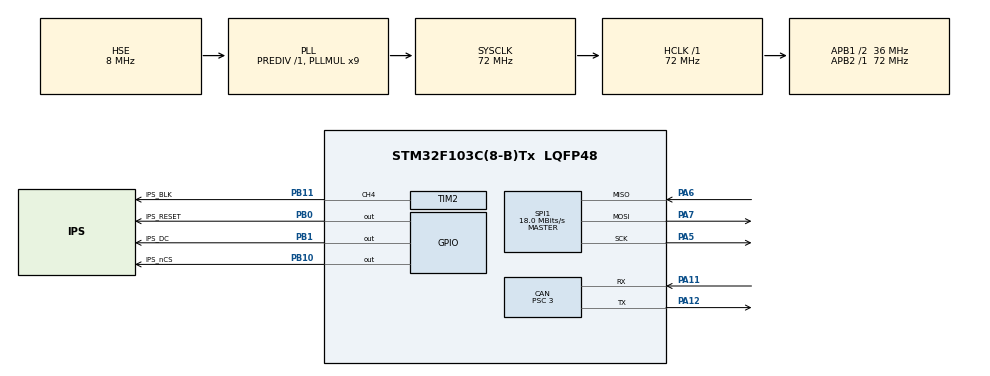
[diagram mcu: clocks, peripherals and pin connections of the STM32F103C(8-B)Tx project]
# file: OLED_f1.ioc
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CAN.ABOM=ENABLE
CAN.AWUM=ENABLE
CAN.BS1=CAN_BS1_7TQ
CAN.BS2=CAN_BS2_4TQ
CAN.CalculateTimeBit=1000
CAN.CalculateTimeQuantum=83.33333333333334
CAN.Prescaler=3
Mcu.Family=STM32F1
Mcu.Name=STM32F103C(8-B)Tx
Mcu.Package=LQFP48
NVIC.PriorityGroup=NVIC_PRIORITYGROUP_4
NVIC.USB_LP_CAN1_RX0_IRQn=true\:0\:0\:false\:false\:true\:true
PA11.Mode=Master
PA11.Signal=CAN_RX
PA12.Mode=Master
PA12.Signal=CAN_TX
PA13.Mode=Serial_Wire
PA13.Signal=SYS_JTMS-SWDIO
PA14.Mode=Serial_Wire
PA14.Signal=SYS_JTCK-SWCLK
PA5.Mode=Full_Duplex_Master
PA5.Signal=SPI1_SCK
PA6.Mode=Full_Duplex_Master
PA6.Signal=SPI1_MISO
PA7.Mode=Full_Duplex_Master
PA7.Signal=SPI1_MOSI
PB0.GPIO_Label=IPS_RESET
PB0.Signal=GPIO_Output
PB1.GPIO_Label=IPS_DC
PB1.Signal=GPIO_Output
PB10.GPIO_Label=IPS_nCS
PB10.Signal=GPIO_Output
PB11.GPIO_Label=IPS_BLK
PB11.Signal=S_TIM2_CH4
PD0-OSC_IN.Mode=HSE-External-Oscillator
PD0-OSC_IN.Signal=RCC_OSC_IN
PD1-OSC_OUT.Mode=HSE-External-Oscillator
PD1-OSC_OUT.Signal=RCC_OSC_OUT
ProjectManager.HeapSize=0x200
ProjectManager.StackSize=0x400
ProjectManager.TargetToolchain=MDK-ARM V5
RCC.AHBFreq_Value=72000000
RCC.APB1CLKDivider=RCC_HCLK_DIV2
RCC.APB1Freq_Value=36000000
RCC.APB1TimFreq_Value=72000000
RCC.APB2Freq_Value=72000000
RCC.APB2TimFreq_Value=72000000
RCC.HCLKFreq_Value=72000000
RCC.PLLMUL=RCC_PLL_MUL9
RCC.PLLSourceVirtual=RCC_PLLSOURCE_HSE
RCC.SYSCLKFreq_VALUE=72000000
RCC.SYSCLKSource=RCC_SYSCLKSOURCE_PLLCLK
RCC.USBFreq_Value=72000000
SH.S_TIM2_CH4.0=TIM2_CH4,PWM Generation4 CH4
SPI1.BaudRatePrescaler=SPI_BAUDRATEPRESCALER_4
SPI1.CalculateBaudRate=18.0 MBits/s
SPI1.Direction=SPI_DIRECTION_2LINES
SPI1.Mode=SPI_MODE_MASTER
SPI1.VirtualType=VM_MASTER
TIM2.Channel-PWM\ Generation4\ CH4=TIM_CHANNEL_4
TIM2.Period=1000
TIM2.Prescaler=72
board=custom

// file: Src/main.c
/**
  ******************************************************************************
  * @file           : main.c
  * @brief          : Main program body
  ******************************************************************************
  ** This notice applies to any and all portions of this file
  * that are not between comment pairs USER CODE BEGIN and
  * USER CODE END. Other portions of this file, whether
  * inserted by the user or by software development tools
  * are owned by their respective copyright owners.
  *
  * COPYRIGHT(c) 2019 STMicroelectronics
  *
  * Redistribution and use in source and binary forms, with or without modification,
  * are permitted provided that the following conditions are met:
  *   1. Redistributions of source code must retain the above copyright notice,
  *      this list of conditions and the following disclaimer.
  *   2. Redistributions in binary form must reproduce the above copyright notice,
  *      this list of conditions and the following disclaimer in the documentation
  *      and/or other materials provided with the distribution.
  *   3. Neither the name of STMicroelectronics nor the names of its contributors
  *      may be used to endorse or promote products derived from this software
  *      without specific prior written permission.
  *
  * THIS SOFTWARE IS PROVIDED BY THE COPYRIGHT HOLDERS AND CONTRIBUTORS "AS IS"
  * AND ANY EXPRESS OR IMPLIED WARRANTIES, INCLUDING, BUT NOT LIMITED TO, THE
  * IMPLIED WARRANTIES OF MERCHANTABILITY AND FITNESS FOR A PARTICULAR PURPOSE ARE
  * DISCLAIMED. IN NO EVENT SHALL THE COPYRIGHT HOLDER OR CONTRIBUTORS BE LIABLE
  * FOR ANY DIRECT, INDIRECT, INCIDENTAL, SPECIAL, EXEMPLARY, OR CONSEQUENTIAL
  * DAMAGES (INCLUDING, BUT NOT LIMITED TO, PROCUREMENT OF SUBSTITUTE GOODS OR
  * SERVICES; LOSS OF USE, DATA, OR PROFITS; OR BUSINESS INTERRUPTION) HOWEVER
  * CAUSED AND ON ANY THEORY OF LIABILITY, WHETHER IN CONTRACT, STRICT LIABILITY,
  * OR TORT (INCLUDING NEGLIGENCE OR OTHERWISE) ARISING IN ANY WAY OUT OF THE USE
  * OF THIS SOFTWARE, EVEN IF ADVISED OF THE POSSIBILITY OF SUCH DAMAGE.
  *
  ******************************************************************************
  */
#include "main.h"
#include "stm32f1xx_hal.h"
#include "can.h"
#include "spi.h"
#include "tim.h"
#include "gpio.h"

/* USER CODE BEGIN Includes */
#include "IPS_SPI.h"
#include "My_CAN.h"
/* USER CODE END Includes */

/* USER CODE BEGIN PV */
/* Private variables ---------------------------------------------------------*/
#define IPS_SIZE 16
#define LIGHT_LEVEL 200
uint16_t COLOR = WHITE;//默认颜色白色
static char average_buffer[8]={0},
						bulletSpeed_buffer[8]={0},
						n_buffer[8]={0},
						n_block_buffer[8]={0},
						friction_spe_set_buffer[8] = {0},
						variance_buffer[8] = {0},
						magazine_speed_buffer[8] = {0};//IPS刷新数据缓冲池
/* USER CODE END PV */

void SystemClock_Config(void);

/* USER CODE BEGIN PFP */
/* Private function prototypes -----------------------------------------------*/

/* USER CODE END PFP */

int main(void)
{

  /* MCU Configuration----------------------------------------------------------*/

  /* Reset of all peripherals, Initializes the Flash interface and the Systick. */
  HAL_Init();

  /* Configure the system clock */
  SystemClock_Config();

  /* Initialize all configured peripherals */
  MX_GPIO_Init();
  MX_CAN_Init();
  MX_SPI1_Init();
  MX_TIM2_Init();
  /* USER CODE BEGIN 2 */
	CAN_Init();
	CHIP_SELECTED();//片选信号
	InitST7735S();//IPS主控初始化
	LIGHT_LEVEL_SET(LIGHT_LEVEL);
	HAL_TIM_PWM_Start(&htim2, TIM_CHANNEL_4);
	Display_Purity_Color(BLACK);//清屏
	IPS_Display_ON();
  /* USER CODE END 2 */

  /* Infinite loop */
  /* USER CODE BEGIN WHILE */
  while (1)
  {
//		HAL_GPIO_TogglePin(IPS_BLK_GPIO_Port, IPS_BLK_Pin);

		if(HAL_GetTick()-Last_update_tick > 200)
			Online_flag = 0;

		if(Online_flag)
		{
			if(MonitorData.Cloud_Pitch_OutofContact)
				IPS_ShowString(0, 0, (char*)"Pitch", IPS_SIZE, MAGENTA|YELLOW, PURITY);
			else IPS_ShowString(0, 0, (char*)"Pitch", IPS_SIZE, CYAN, PURITY);

			if(MonitorData.Cloud_Yaw_OutofContact)
				IPS_ShowString(0, IPS_SIZE, (char*)"Yaw  ", IPS_SIZE, MAGENTA|YELLOW, PURITY);
			else IPS_ShowString(0, IPS_SIZE, (char*)"Yaw  ", IPS_SIZE, CYAN, PURITY);

			if(MonitorData.Cloud_Magzine_OutofContact)
				IPS_ShowString(0, IPS_SIZE*2, (char*)"Magaz", IPS_SIZE, MAGENTA|YELLOW, PURITY);
			else IPS_ShowString(0, IPS_SIZE*2, (char*)"Magaz", IPS_SIZE, CYAN, PURITY);

			if(MonitorData.Cloud_Fric_l_OutofContact)
				IPS_ShowString(0, IPS_SIZE*3, (char*)"Fricl", IPS_SIZE, MAGENTA|YELLOW, PURITY);
			else IPS_ShowString(0, IPS_SIZE*3, (char*)"Fricl", IPS_SIZE, CYAN, PURITY);

			if(MonitorData.Cloud_Fric_r_OutofContact)
				IPS_ShowString(0, IPS_SIZE*4, (char*)"Fricr", IPS_SIZE, MAGENTA|YELLOW, PURITY);
			else IPS_ShowString(0, IPS_SIZE*4, (char*)"Fricr", IPS_SIZE, CYAN, PURITY);

			if(MonitorData.ChassisOutofContact)
				IPS_ShowString(50, 0, (char*)"Chassis", IPS_SIZE, MAGENTA|YELLOW, PURITY);
			else IPS_ShowString(50, 0, (char*)"Chassis", IPS_SIZE, CYAN, PURITY);

			if(MonitorData.Wheel_LF_OutofContact)
				IPS_ShowString(50, IPS_SIZE, (char*)"Motor1", IPS_SIZE, MAGENTA|YELLOW, PURITY);
			else IPS_ShowString(50, IPS_SIZE, (char*)"Motor1", IPS_SIZE, CYAN, PURITY);

			if(MonitorData.Wheel_RF_OutofContact)
				IPS_ShowString(50, IPS_SIZE*2, (char*)"Motor2", IPS_SIZE, MAGENTA|YELLOW, PURITY);
			else IPS_ShowString(50, IPS_SIZE*2, (char*)"Motor2", IPS_SIZE, CYAN, PURITY);

			if(MonitorData.Wheel_LB_OutofContact)
				IPS_ShowString(50, IPS_SIZE*3, (char*)"Motor3", IPS_SIZE, MAGENTA|YELLOW, PURITY);
			else IPS_ShowString(50, IPS_SIZE*3, (char*)"Motor3", IPS_SIZE, CYAN, PURITY);

			if(MonitorData.Wheel_RB_OutofContact)
				IPS_ShowString(50, IPS_SIZE*4, (char*)"Motor4", IPS_SIZE, MAGENTA|YELLOW, PURITY);
			else IPS_ShowString(50, IPS_SIZE*4, (char*)"Motor4", IPS_SIZE, CYAN, PURITY);

			if(MonitorData.VisionOutofContact)
				IPS_ShowString(110, 0, (char*)"Vision", IPS_SIZE, MAGENTA|YELLOW, PURITY);
			else if(MonitorData.BuffCamOutofContact)
				IPS_ShowString(110, 0, (char*)"BufCam", IPS_SIZE, MAGENTA|YELLOW, PURITY);
			else IPS_ShowString(110, 0, (char*)"BufCam", IPS_SIZE, CYAN, PURITY);

			if(MonitorData.DbusOutofContact)
				IPS_ShowString(110, IPS_SIZE, (char*)"Dbus", IPS_SIZE, MAGENTA|YELLOW, PURITY);
			else IPS_ShowString(110, IPS_SIZE, (char*)"Dbus", IPS_SIZE, CYAN, PURITY);

			if(MonitorData.JudgementOutofContact)
			{
				if(MonitorData.CloudJudgementRepaired)
					IPS_ShowString(110, IPS_SIZE*2, (char*)"JudgeU", IPS_SIZE, YELLOW, PURITY);
				else IPS_ShowString(110, IPS_SIZE*2, (char*)"JudgeU", IPS_SIZE, MAGENTA|YELLOW, PURITY);
			}else IPS_ShowString(110, IPS_SIZE*2, (char*)"JudgeU", IPS_SIZE, CYAN, PURITY);

			if(MonitorData.ChassisJudgementOutofContact)
			{
				if(MonitorData.CloudJudgementRepaired)
					IPS_ShowString(110, IPS_SIZE*3, (char*)"JudgeD", IPS_SIZE, YELLOW, PURITY);
				else IPS_ShowString(110, IPS_SIZE*3, (char*)"JudgeD", IPS_SIZE, MAGENTA|YELLOW, PURITY);
			}else IPS_ShowString(110, IPS_SIZE*3, (char*)"JudgeD", IPS_SIZE, CYAN, PURITY);

			if(MonitorData.TFCardOutofContact)
				IPS_ShowString(110, IPS_SIZE*4, (char*)"TFCard", IPS_SIZE, MAGENTA|YELLOW, PURITY);
			else IPS_ShowString(110, IPS_SIZE*4, (char*)"TFCard", IPS_SIZE, CYAN, PURITY);
		}else
		{
			IPS_ShowString(5, 15, (char*)"EVERYTHING", 28, YELLOW, PURITY);
			IPS_ShowString(40, 44, (char*)"OFFLINE", 28, YELLOW, PURITY);
		}

  /* USER CODE END WHILE */

  }

}

void SystemClock_Config(void)
{

  RCC_OscInitTypeDef RCC_OscInitStruct;
  RCC_ClkInitTypeDef RCC_ClkInitStruct;

    /**Initializes the CPU, AHB and APB busses clocks
    */
  RCC_OscInitStruct.OscillatorType = RCC_OSCILLATORTYPE_HSE;
  RCC_OscInitStruct.HSEState = RCC_HSE_ON;
  RCC_OscInitStruct.HSEPredivValue = RCC_HSE_PREDIV_DIV1;
  RCC_OscInitStruct.HSIState = RCC_HSI_ON;
  RCC_OscInitStruct.PLL.PLLState = RCC_PLL_ON;
  RCC_OscInitStruct.PLL.PLLSource = RCC_PLLSOURCE_HSE;
  RCC_OscInitStruct.PLL.PLLMUL = RCC_PLL_MUL9;
  if (HAL_RCC_OscConfig(&RCC_OscInitStruct) != HAL_OK)
  {
    _Error_Handler(__FILE__, __LINE__);
  }

    /**Initializes the CPU, AHB and APB busses clocks
    */
  RCC_ClkInitStruct.ClockType = RCC_CLOCKTYPE_HCLK|RCC_CLOCKTYPE_SYSCLK
                              |RCC_CLOCKTYPE_PCLK1|RCC_CLOCKTYPE_PCLK2;
  RCC_ClkInitStruct.SYSCLKSource = RCC_SYSCLKSOURCE_PLLCLK;
  RCC_ClkInitStruct.AHBCLKDivider = RCC_SYSCLK_DIV1;
  RCC_ClkInitStruct.APB1CLKDivider = RCC_HCLK_DIV2;
  RCC_ClkInitStruct.APB2CLKDivider = RCC_HCLK_DIV1;

  if (HAL_RCC_ClockConfig(&RCC_ClkInitStruct, FLASH_LATENCY_2) != HAL_OK)
  {
    _Error_Handler(__FILE__, __LINE__);
  }

    /**Configure the Systick interrupt time
    */
  HAL_SYSTICK_Config(HAL_RCC_GetHCLKFreq()/1000);

    /**Configure the Systick
    */
  HAL_SYSTICK_CLKSourceConfig(SYSTICK_CLKSOURCE_HCLK);

  /* SysTick_IRQn interrupt configuration */
  HAL_NVIC_SetPriority(SysTick_IRQn, 0, 0);
}

void _Error_Handler(char *file, int line)
{
  while(1)
  {
  }
}

/************************ (C) COPYRIGHT STMicroelectronics *****END OF FILE****/
